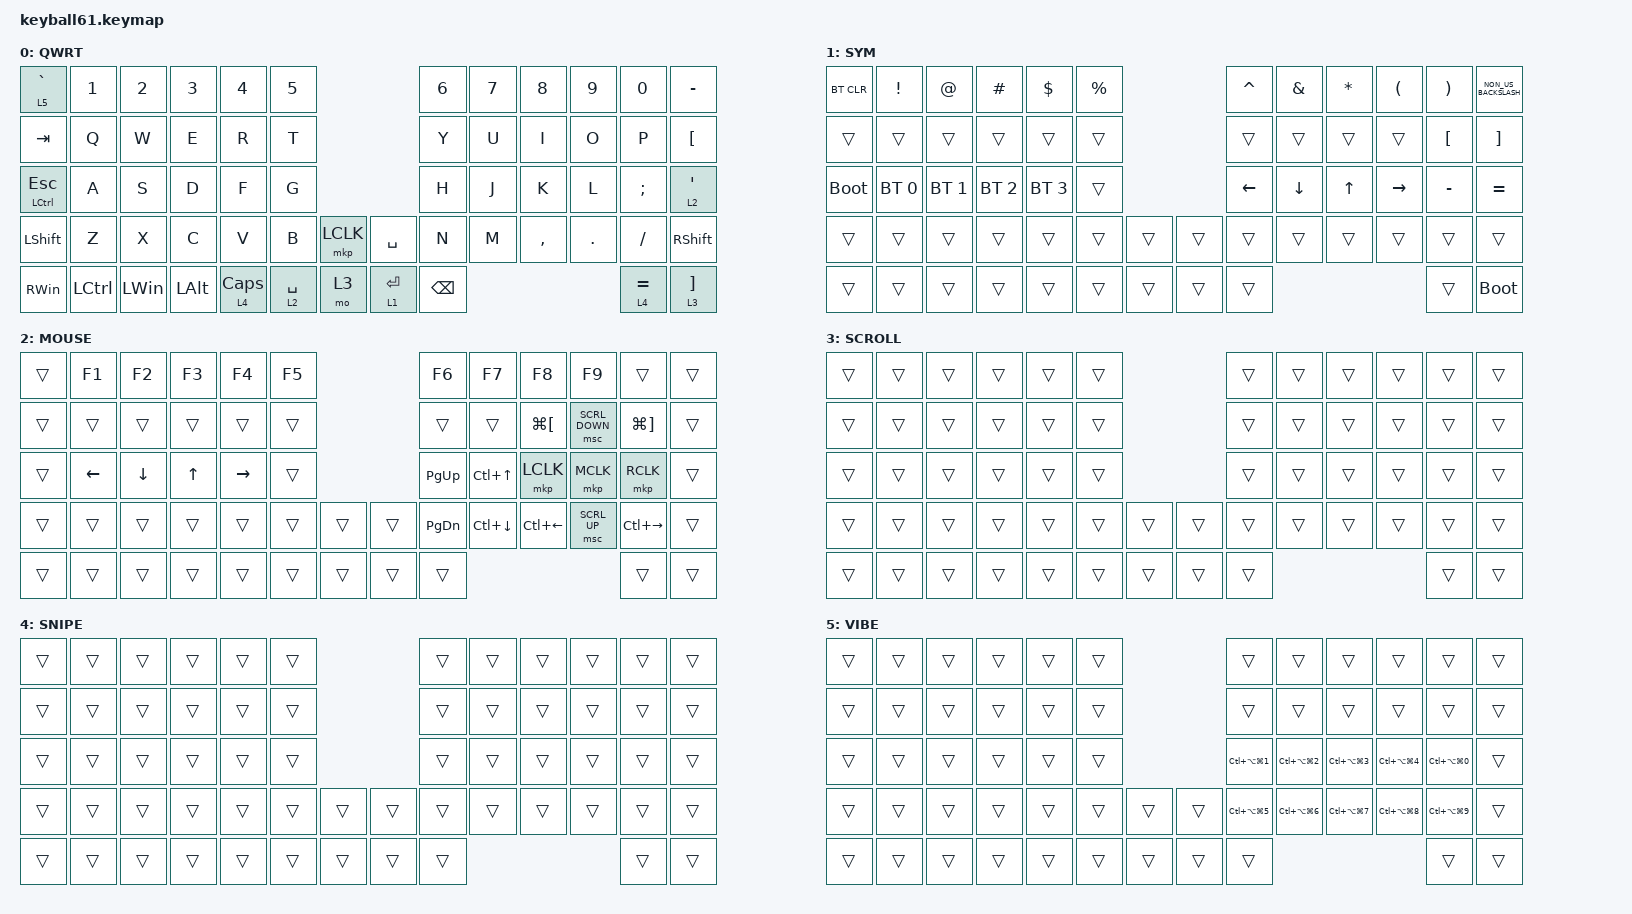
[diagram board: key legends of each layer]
#define DEFAULT 0
#define SYM     1
#define FUN     2
#define MOUSE   3 // Auto-Mouse Layer
#define SCROLL  4 // Motion Scroll Layer
#define SNIPE   5 // Snipe Mode Layer

#include <behaviors/mouse_keys.dtsi>
#include <dt-bindings/zmk/mouse.h>
#include <behaviors.dtsi>
#include <dt-bindings/zmk/bt.h>
#include <dt-bindings/zmk/keys.h>
#include <dt-bindings/zmk/pointing.h>

&lt {
    tapping-term-ms = <240>;
    flavor = "balanced";
    quick-tap-ms = <150>;
};

&mt {
    tapping-term-ms = <200>;
    flavor = "tap-preferred";
    quick-tap-ms = <150>;
};

/ {
    keymap {
        compatible = "zmk,keymap";

        default_layer {
            label = "QWRT";
            bindings = <
&lt 5 GRAVE     &kp N1     &kp N2        &kp N3        &kp N4      &kp N5                               &kp N6         &kp N7  &kp N8     &kp N9   &kp N0       &kp MINUS
&kp TAB         &kp Q      &kp W         &kp E         &kp R       &kp T                                &kp Y          &kp U   &kp I      &kp O    &kp P        &kp LEFT_BRACKET
&mt LCTRL ESC   &kp A      &kp S         &kp D         &kp F       &kp G                                &kp H          &kp J   &kp K      &kp L    &kp SEMI     &lt 2 SQT
&kp LEFT_SHIFT  &kp Z      &kp X         &kp C         &kp V       &kp B        &mkp LCLK  &kp SPACE    &kp N          &kp M   &kp COMMA  &kp DOT  &kp FSLH     &kp RIGHT_SHIFT
&kp RWIN        &kp LCTRL  &kp LEFT_WIN  &kp LEFT_ALT  &lt 4 CAPS  &lt 2 SPACE  &mo 3      &lt 1 ENTER  &kp BACKSPACE                              &lt 4 EQUAL  &lt 3 RIGHT_BRACKET
            >;
        };

        symbol_layer {
            label = "SYM";
            bindings = <
&bt BT_CLR   &kp EXCLAMATION  &kp AT_SIGN   &kp HASH      &kp DOLLAR    &kp PERCENT                  &kp CARET  &kp AMPERSAND  &kp ASTERISK  &kp LEFT_PARENTHESIS  &kp RIGHT_PARENTHESIS  &kp NON_US_BACKSLASH
&trans       &trans           &trans        &trans        &trans        &trans                       &trans     &trans         &trans        &trans                &kp LEFT_BRACKET       &kp RIGHT_BRACKET
&bootloader  &bt BT_SEL 0     &bt BT_SEL 1  &bt BT_SEL 2  &bt BT_SEL 3  &trans                       &kp LEFT   &kp DOWN       &kp UP        &kp RIGHT             &kp MINUS              &kp EQUAL
&trans       &trans           &trans        &trans        &trans        &trans       &trans  &trans  &trans     &trans         &trans        &trans                &trans                 &trans
&trans       &trans           &trans        &trans        &trans        &trans       &trans  &trans  &trans                                                        &trans                 &bootloader
            >;
        };

        mouse_layer {
            label = "MOUSE";
            bindings = <
&trans  &kp F1    &kp F2    &kp F3  &kp F4     &kp F5                  &kp F6         &kp F7        &kp F8                &kp F9          &trans                 &trans
&trans  &trans    &trans    &trans  &trans     &trans                  &trans         &trans        &kp LG(LEFT_BRACKET)  &msc SCRL_DOWN  &kp LG(RIGHT_BRACKET)  &trans
&trans  &kp LEFT  &kp DOWN  &kp UP  &kp RIGHT  &trans                  &kp PAGE_UP    &kp LC(UP)    &mkp LCLK             &mkp MCLK       &mkp RCLK              &trans
&trans  &trans    &trans    &trans  &trans     &trans  &trans  &trans  &kp PAGE_DOWN  &kp LC(DOWN)  &kp LC(LEFT)          &msc SCRL_UP    &kp LC(RIGHT)          &trans
&trans  &trans    &trans    &trans  &trans     &trans  &trans  &trans  &trans                                                             &trans                 &trans
            >;
        };

        scroll_layer {
            label = "SCROLL";
            bindings = <
&trans  &trans  &trans  &trans  &trans  &trans                  &trans  &trans  &trans  &trans  &trans  &trans
&trans  &trans  &trans  &trans  &trans  &trans                  &trans  &trans  &trans  &trans  &trans  &trans
&trans  &trans  &trans  &trans  &trans  &trans                  &trans  &trans  &trans  &trans  &trans  &trans
&trans  &trans  &trans  &trans  &trans  &trans  &trans  &trans  &trans  &trans  &trans  &trans  &trans  &trans
&trans  &trans  &trans  &trans  &trans  &trans  &trans  &trans  &trans                          &trans  &trans
            >;
        };

        snipe_layer {
            label = "SNIPE";
            bindings = <
&trans  &trans  &trans  &trans  &trans  &trans                  &trans  &trans  &trans  &trans  &trans  &trans
&trans  &trans  &trans  &trans  &trans  &trans                  &trans  &trans  &trans  &trans  &trans  &trans
&trans  &trans  &trans  &trans  &trans  &trans                  &trans  &trans  &trans  &trans  &trans  &trans
&trans  &trans  &trans  &trans  &trans  &trans  &trans  &trans  &trans  &trans  &trans  &trans  &trans  &trans
&trans  &trans  &trans  &trans  &trans  &trans  &trans  &trans  &trans                          &trans  &trans
            >;
        };

        vibe {
            label = "VIBE";
            bindings = <
&trans  &trans  &trans  &trans  &trans  &trans                  &trans              &trans              &trans              &trans              &trans              &trans
&trans  &trans  &trans  &trans  &trans  &trans                  &trans              &trans              &trans              &trans              &trans              &trans
&trans  &trans  &trans  &trans  &trans  &trans                  &kp LC(LA(LG(N1)))  &kp LC(LA(LG(N2)))  &kp LC(LA(LG(N3)))  &kp LC(LA(LG(N4)))  &kp LC(LA(LG(N0)))  &trans
&trans  &trans  &trans  &trans  &trans  &trans  &trans  &trans  &kp LC(LA(LG(N5)))  &kp LC(LA(LG(N6)))  &kp LC(LA(LG(N7)))  &kp LC(LA(LG(N8)))  &kp LC(LA(LG(N9)))  &trans
&trans  &trans  &trans  &trans  &trans  &trans  &trans  &trans  &trans                                                                          &trans              &trans
            >;
        };
    };
};
